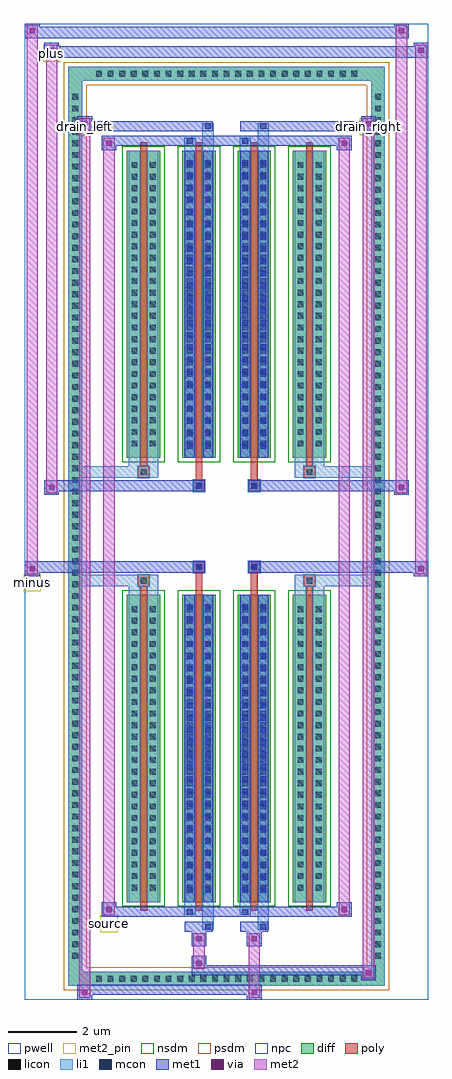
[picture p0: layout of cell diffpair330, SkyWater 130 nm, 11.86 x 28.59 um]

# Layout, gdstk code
import gdstk
lib = gdstk.Library(unit=1e-6, precision=5e-09)
def R(c, l, rs):  # rectangles x0, y0, x1, y1
    for r in rs: c.add(gdstk.rectangle(r[:2], r[2:], *l))
def A(c, l, x, y, w, h, nx, ny, dx, dy):  # array of equal rectangles
    R(c, l, [(x+i*dx, y+j*dy, x+i*dx+w, y+j*dy+h) for i in range(nx) for j in range(ny)])
def P(c, l, *ps):  # polygons
    for p in ps: c.add(gdstk.Polygon(p, *l))
pwell = (64, 44)
diff = (65, 20)
poly = (66, 20)
licon = (66, 44)
li1 = (67, 20)
mcon = (67, 44)
met1 = (68, 20)
via = (68, 44)
met2_pin = (69, 16)
met2 = (69, 20)
nsdm = (93, 44)
psdm = (94, 20)
npc = (95, 20)

diffpair330 = lib.new_cell('diffpair330')
R(diffpair330, pwell, [(-5.91,-13.86,5.91,14.73), (-3.23,-12.05,-0.01,-0.825), (0.01,-12.05,3.23,-0.825), (-3.23,0.825,-0.01,12.05), (0.01,0.825,3.23,12.05)])
A(diffpair330, diff, -3.945, -13.46, 0.41, 0.41, 23, 2, 0.34, 26.51)
A(diffpair330, diff, -4.64, -12.785, 0.41, 0.41, 1, 75, 0, 0.34)
A(diffpair330, diff, 4.23, -12.785, 0.41, 0.41, 1, 75, 0, 0.34)
A(diffpair330, diff, -2.92, -11.005, 0.98, 9, 4, 2, 1.62, 13.01)
R(diffpair330, diff, [(-3.945,-13.46,3.945,-13.05), (-4.64,-12.785,-4.23,12.785), (4.23,-12.785,4.64,12.785), (-3.945,13.05,3.945,13.46)])
P(diffpair330, diff, [(4.64,13.46),(-4.64,13.46),(-4.64,-13.05),(-4.23,-13.05),(-4.23,13.05),(4.23,13.05),(4.23,-13.05),(-4.23,-13.05),(-4.64,-13.05),(-4.64,-13.46),(4.64,-13.46)])
A(diffpair330, poly, -2.53, -11.255, 0.2, 9.5, 4, 2, 1.62, 13.01)
R(diffpair330, poly, [(-2.595,-1.755,-2.265,-1.425), (-2.595,-1.755,-2.265,-1.425), (-0.91,-1.755,-0.71,-1.355), (0.71,-1.755,0.91,-1.355), (2.265,-1.755,2.595,-1.425), (2.265,-1.755,2.595,-1.425), (-0.975,-1.355,-0.645,-1.025), (-0.975,-1.355,-0.645,-1.025), (0.645,-1.355,0.975,-1.025), (0.645,-1.355,0.975,-1.025), (-0.975,1.025,-0.645,1.355), (-0.975,1.025,-0.645,1.355), (0.645,1.025,0.975,1.355), (0.645,1.025,0.975,1.355), (-0.91,1.355,-0.71,1.755), (0.71,1.355,0.91,1.755), (-2.595,1.425,-2.265,1.755), (-2.595,1.425,-2.265,1.755), (2.265,1.425,2.595,1.755), (2.265,1.425,2.595,1.755)])
A(diffpair330, licon, -3.825, -13.34, 0.17, 0.17, 23, 2, 0.34, 26.51)
A(diffpair330, licon, -4.52, -12.665, 0.17, 0.17, 1, 75, 0, 0.34)
A(diffpair330, licon, 4.35, -12.665, 0.17, 0.17, 1, 75, 0, 0.34)
A(diffpair330, licon, -2.78, -10.67, 0.17, 0.17, 1, 25, 0, 0.34)
A(diffpair330, licon, -2.25, -10.67, 0.17, 0.17, 1, 25, 0, 0.34)
A(diffpair330, licon, -1.16, -10.67, 0.17, 0.17, 1, 25, 0, 0.34)
A(diffpair330, licon, -0.63, -10.67, 0.17, 0.17, 1, 25, 0, 0.34)
A(diffpair330, licon, 0.46, -10.67, 0.17, 0.17, 1, 25, 0, 0.34)
A(diffpair330, licon, 0.99, -10.67, 0.17, 0.17, 1, 25, 0, 0.34)
A(diffpair330, licon, 2.08, -10.67, 0.17, 0.17, 1, 25, 0, 0.34)
A(diffpair330, licon, 2.61, -10.67, 0.17, 0.17, 1, 25, 0, 0.34)
A(diffpair330, licon, -2.78, 2.34, 0.17, 0.17, 1, 25, 0, 0.34)
A(diffpair330, licon, -2.25, 2.34, 0.17, 0.17, 1, 25, 0, 0.34)
A(diffpair330, licon, -1.16, 2.34, 0.17, 0.17, 1, 25, 0, 0.34)
A(diffpair330, licon, -0.63, 2.34, 0.17, 0.17, 1, 25, 0, 0.34)
A(diffpair330, licon, 0.46, 2.34, 0.17, 0.17, 1, 25, 0, 0.34)
A(diffpair330, licon, 0.99, 2.34, 0.17, 0.17, 1, 25, 0, 0.34)
A(diffpair330, licon, 2.08, 2.34, 0.17, 0.17, 1, 25, 0, 0.34)
A(diffpair330, licon, 2.61, 2.34, 0.17, 0.17, 1, 25, 0, 0.34)
R(diffpair330, licon, [(-2.515,-1.675,-2.345,-1.505), (2.345,-1.675,2.515,-1.505), (-0.895,-1.275,-0.725,-1.105), (0.725,-1.275,0.895,-1.105), (-0.895,1.105,-0.725,1.275), (0.725,1.105,0.895,1.275), (-2.515,1.505,-2.345,1.675), (2.345,1.505,2.515,1.675)])
A(diffpair330, li1, -3.905, -13.42, 0.33, 0.33, 23, 2, 0.34, 26.51)
A(diffpair330, li1, -4.6, -12.745, 0.33, 0.33, 1, 75, 0, 0.34)
A(diffpair330, li1, 4.27, -12.745, 0.33, 0.33, 1, 75, 0, 0.34)
A(diffpair330, li1, -2.86, -10.75, 0.33, 0.33, 1, 25, 0, 0.34)
A(diffpair330, li1, -2.33, -10.75, 0.33, 0.33, 1, 25, 0, 0.34)
A(diffpair330, li1, -1.24, -10.75, 0.33, 0.33, 1, 25, 0, 0.34)
A(diffpair330, li1, -0.71, -10.75, 0.33, 0.33, 1, 25, 0, 0.34)
A(diffpair330, li1, 0.38, -10.75, 0.33, 0.33, 1, 25, 0, 0.34)
A(diffpair330, li1, 0.91, -10.75, 0.33, 0.33, 1, 25, 0, 0.34)
A(diffpair330, li1, 2, -10.75, 0.33, 0.33, 1, 25, 0, 0.34)
A(diffpair330, li1, 2.53, -10.75, 0.33, 0.33, 1, 25, 0, 0.34)
A(diffpair330, li1, -1.16, -10.73, 0.17, 0.17, 1, 24, 0, 0.36)
A(diffpair330, li1, -0.63, -10.73, 0.17, 0.17, 1, 24, 0, 0.36)
A(diffpair330, li1, 0.46, -10.73, 0.17, 0.17, 1, 24, 0, 0.36)
A(diffpair330, li1, 0.99, -10.73, 0.17, 0.17, 1, 24, 0, 0.36)
A(diffpair330, li1, -2.86, 2.26, 0.33, 0.33, 1, 25, 0, 0.34)
A(diffpair330, li1, -2.33, 2.26, 0.33, 0.33, 1, 25, 0, 0.34)
A(diffpair330, li1, -1.24, 2.26, 0.33, 0.33, 1, 25, 0, 0.34)
A(diffpair330, li1, -0.71, 2.26, 0.33, 0.33, 1, 25, 0, 0.34)
A(diffpair330, li1, 0.38, 2.26, 0.33, 0.33, 1, 25, 0, 0.34)
A(diffpair330, li1, 0.91, 2.26, 0.33, 0.33, 1, 25, 0, 0.34)
A(diffpair330, li1, 2, 2.26, 0.33, 0.33, 1, 25, 0, 0.34)
A(diffpair330, li1, 2.53, 2.26, 0.33, 0.33, 1, 25, 0, 0.34)
A(diffpair330, li1, -1.16, 2.28, 0.17, 0.17, 1, 24, 0, 0.36)
A(diffpair330, li1, -0.63, 2.28, 0.17, 0.17, 1, 24, 0, 0.36)
A(diffpair330, li1, 0.46, 2.28, 0.17, 0.17, 1, 24, 0, 0.36)
A(diffpair330, li1, 0.99, 2.28, 0.17, 0.17, 1, 24, 0, 0.36)
R(diffpair330, li1, [(-4.64,-13.46,-4.23,-13.05), (-4.64,-13.46,-4.23,-13.05), (-4.23,-13.46,4.23,-13.05), (4.23,-13.46,4.64,-13.05), (4.23,-13.46,4.64,-13.05), (-4.64,-13.05,-4.23,13.05), (4.23,-13.05,4.64,13.05), (-0.71,-11.81,-0.38,-11.005), (-0.63,-11.81,-0.46,-11.64), (0.91,-11.81,1.24,-11.005), (0.99,-11.81,1.16,-11.64), (-1.24,-11.38,-0.91,-11.005), (-1.16,-11.38,-0.99,-11.21), (0.38,-11.38,0.71,-11.005), (0.46,-11.38,0.63,-11.21), (-2.86,-11.005,-2.53,-2.005), (-2.33,-11.005,-2,-2.005), (-1.24,-11.005,-0.91,-2.005), (-0.71,-11.005,-0.38,-2.005), (0.38,-11.005,0.71,-2.005), (0.91,-11.005,1.24,-2.005), (2,-11.005,2.33,-2.005), (2.53,-11.005,2.86,-2.005), (-1.16,-10.73,-0.99,-2.28), (-0.63,-10.73,-0.46,-2.28), (0.46,-10.73,0.63,-2.28), (0.99,-10.73,1.16,-2.28), (-2.86,-2.005,-2.53,-1.425), (-2.33,-2.005,-2,-1.425), (2,-2.005,2.33,-1.425), (2.53,-2.005,2.86,-1.425), (-4.64,-1.755,-2.595,-1.425), (-2.86,-1.755,-2.595,-1.425), (-2.595,-1.755,-2.265,-1.425), (-2.265,-1.755,-2,-1.425), (2,-1.755,2.265,-1.425), (2.265,-1.755,2.595,-1.425), (2.265,-1.755,4.64,-1.425), (2.595,-1.755,2.86,-1.425), (-0.975,-1.355,-0.645,-1.025), (0.645,-1.355,0.975,-1.025), (-0.975,1.025,-0.645,1.355), (0.645,1.025,0.975,1.355), (-4.64,1.425,-2.595,1.755), (-2.86,1.425,-2.595,1.755), (-2.86,1.425,-2.53,2.005), (-2.595,1.425,-2.265,1.755), (-2.33,1.425,-2,2.005), (-2.265,1.425,-2,1.755), (2,1.425,2.265,1.755), (2,1.425,2.33,2.005), (2.265,1.425,2.595,1.755), (2.265,1.425,4.64,1.755), (2.53,1.425,2.86,2.005), (2.595,1.425,2.86,1.755), (-2.86,2.005,-2.53,11.005), (-2.33,2.005,-2,11.005), (-1.24,2.005,-0.91,11.005), (-0.71,2.005,-0.38,11.005), (0.38,2.005,0.71,11.005), (0.91,2.005,1.24,11.005), (2,2.005,2.33,11.005), (2.53,2.005,2.86,11.005), (-1.16,2.28,-0.99,10.73), (-0.63,2.28,-0.46,10.73), (0.46,2.28,0.63,10.73), (0.99,2.28,1.16,10.73), (-1.24,11.005,-0.91,11.38), (-0.71,11.005,-0.38,11.81), (0.38,11.005,0.71,11.38), (0.91,11.005,1.24,11.81), (-1.16,11.21,-0.99,11.38), (0.46,11.21,0.63,11.38), (-0.63,11.64,-0.46,11.81), (0.99,11.64,1.16,11.81), (-4.64,13.05,-4.23,13.46), (-4.64,13.05,-4.23,13.46), (-4.23,13.05,4.23,13.46), (4.23,13.05,4.64,13.46), (4.23,13.05,4.64,13.46)])
A(diffpair330, mcon, -1.16, -10.73, 0.17, 0.17, 1, 24, 0, 0.36)
A(diffpair330, mcon, -0.63, -10.73, 0.17, 0.17, 1, 24, 0, 0.36)
A(diffpair330, mcon, 0.46, -10.73, 0.17, 0.17, 1, 24, 0, 0.36)
A(diffpair330, mcon, 0.99, -10.73, 0.17, 0.17, 1, 24, 0, 0.36)
A(diffpair330, mcon, -1.16, 2.28, 0.17, 0.17, 1, 24, 0, 0.36)
A(diffpair330, mcon, -0.63, 2.28, 0.17, 0.17, 1, 24, 0, 0.36)
A(diffpair330, mcon, 0.46, 2.28, 0.17, 0.17, 1, 24, 0, 0.36)
A(diffpair330, mcon, 0.99, 2.28, 0.17, 0.17, 1, 24, 0, 0.36)
R(diffpair330, mcon, [(-0.63,-11.81,-0.46,-11.64), (0.99,-11.81,1.16,-11.64), (-1.16,-11.38,-0.99,-11.21), (0.46,-11.38,0.63,-11.21), (-0.895,-1.275,-0.725,-1.105), (0.725,-1.275,0.895,-1.105), (-0.895,1.105,-0.725,1.275), (0.725,1.105,0.895,1.275), (-1.16,11.21,-0.99,11.38), (0.46,11.21,0.63,11.38), (-0.63,11.64,-0.46,11.81), (0.99,11.64,1.16,11.81)])
A(diffpair330, met1, -1.22, -10.79, 0.29, 0.29, 1, 24, 0, 0.36)
A(diffpair330, met1, -0.69, -10.79, 0.29, 0.29, 1, 24, 0, 0.36)
A(diffpair330, met1, 0.4, -10.79, 0.29, 0.29, 1, 24, 0, 0.36)
A(diffpair330, met1, 0.93, -10.79, 0.29, 0.29, 1, 24, 0, 0.36)
A(diffpair330, met1, -1.22, 2.22, 0.29, 0.29, 1, 24, 0, 0.36)
A(diffpair330, met1, -0.69, 2.22, 0.29, 0.29, 1, 24, 0, 0.36)
A(diffpair330, met1, 0.4, 2.22, 0.29, 0.29, 1, 24, 0, 0.36)
A(diffpair330, met1, 0.93, 2.22, 0.29, 0.29, 1, 24, 0, 0.36)
R(diffpair330, met1, [(-4.37,-13.86,-3.94,-13.43), (0.595,-13.86,1.025,-13.43), (-4.37,-13.72,1.025,-13.43), (3.94,-13.29,4.37,-12.86), (-1.025,-13.15,4.37,-12.86), (-1.025,-13.01,-0.595,-12.58), (-1.025,-12.3,-0.595,-11.87), (0.595,-12.3,1.025,-11.87), (-1.22,-11.87,-0.4,-11.58), (-0.69,-11.87,-0.4,-11.58), (0.4,-11.87,1.22,-11.58), (0.93,-11.87,1.22,-11.58), (-3.66,-11.44,-3.23,-11.01), (-3.66,-11.44,-1.22,-11.15), (-1.22,-11.44,-0.93,-11.15), (-1.22,-11.44,-0.4,-11.15), (-0.4,-11.44,0.4,-11.15), (0.4,-11.44,0.69,-11.15), (0.4,-11.44,1.22,-11.15), (1.22,-11.44,3.66,-11.15), (3.23,-11.44,3.66,-11.01), (-1.22,-11.005,-0.93,-2.005), (-0.69,-11.005,-0.4,-2.005), (0.4,-11.005,0.69,-2.005), (0.93,-11.005,1.22,-2.005), (-5.91,-1.455,-5.48,-1.025), (5.48,-1.455,5.91,-1.025), (-5.91,-1.355,-0.645,-1.025), (-0.975,-1.355,-0.645,-1.025), (0.645,-1.355,0.975,-1.025), (0.645,-1.355,5.91,-1.025), (-0.955,-1.335,-0.665,-1.045), (0.665,-1.335,0.955,-1.045), (-5.34,0.925,-4.91,1.355), (4.91,0.925,5.34,1.355), (-5.34,1.025,-0.975,1.355), (-0.975,1.025,-0.645,1.355), (0.645,1.025,0.975,1.355), (0.975,1.025,5.34,1.355), (-0.955,1.045,-0.665,1.335), (0.665,1.045,0.955,1.335), (-1.22,2.005,-0.93,11.005), (-0.69,2.005,-0.4,11.005), (0.4,2.005,0.69,11.005), (0.93,2.005,1.22,11.005), (-3.66,11.01,-3.23,11.44), (3.23,11.01,3.66,11.44), (-3.66,11.15,-1.22,11.44), (-1.22,11.15,-0.93,11.44), (-1.22,11.15,-0.4,11.44), (-0.4,11.15,0.4,11.44), (0.4,11.15,0.69,11.44), (0.4,11.15,1.22,11.44), (1.22,11.15,3.66,11.44), (-4.37,11.58,-3.94,12.01), (-4.37,11.58,-1.22,11.87), (-1.22,11.58,-0.4,11.87), (-0.69,11.58,-0.4,11.87), (0.4,11.58,1.22,11.87), (0.93,11.58,1.22,11.87), (1.22,11.58,4.37,11.87), (3.94,11.58,4.37,12.01), (-5.34,13.73,-4.91,14.16), (-5.34,13.73,-3.23,14.06), (-3.23,13.73,3.23,14.06), (3.23,13.73,5.91,14.06), (5.48,13.73,5.91,14.16), (-5.91,14.3,-5.48,14.73), (-5.91,14.3,-3.23,14.63), (-3.23,14.3,3.23,14.63), (3.23,14.3,5.34,14.63), (4.91,14.3,5.34,14.73)])
R(diffpair330, via, [(-4.23,-13.72,-4.08,-13.57), (0.735,-13.72,0.885,-13.57), (4.08,-13.15,4.23,-13), (-0.885,-12.87,-0.735,-12.72), (-0.885,-12.16,-0.735,-12.01), (0.735,-12.16,0.885,-12.01), (-3.52,-11.3,-3.37,-11.15), (3.37,-11.3,3.52,-11.15), (-5.77,-1.315,-5.62,-1.165), (5.62,-1.315,5.77,-1.165), (-5.2,1.065,-5.05,1.215), (5.05,1.065,5.2,1.215), (-3.52,11.15,-3.37,11.3), (3.37,11.15,3.52,11.3), (-4.23,11.72,-4.08,11.87), (4.08,11.72,4.23,11.87), (-5.2,13.87,-5.05,14.02), (5.62,13.87,5.77,14.02), (-5.77,14.44,-5.62,14.59), (5.05,14.44,5.2,14.59)])
R(diffpair330, met2_pin, [(-3.695,-11.89,-3.195,-11.39), (-5.945,-1.905,-5.445,-1.405), (-4.405,11.46,-3.905,11.96), (3.905,11.46,4.405,11.96), (-5.375,13.61,-4.875,14.11)])
R(diffpair330, met2, [(-4.32,-13.81,-3.99,-13.48), (-4.32,-13.81,-3.99,11.96), (0.645,-13.81,0.975,-13.48), (0.645,-13.48,0.975,-12.25), (3.99,-13.24,4.32,-12.91), (3.99,-13.24,4.32,11.96), (-0.975,-12.96,-0.645,-12.63), (-0.975,-12.63,-0.645,-12.25), (-0.975,-12.25,-0.645,-11.92), (0.645,-12.25,0.975,-11.92), (-3.61,-11.39,-3.28,-11.06), (-3.61,-11.39,-3.28,11.39), (3.28,-11.39,3.61,-11.06), (3.28,-11.39,3.61,11.39), (-5.86,-1.405,-5.53,-1.075), (-5.86,-1.405,-5.53,14.68), (5.53,-1.405,5.86,-1.075), (5.53,-1.405,5.86,14.11), (-5.29,0.975,-4.96,1.305), (-5.29,0.975,-4.96,14.11), (4.96,0.975,5.29,1.305), (4.96,0.975,5.29,14.68), (-3.61,11.06,-3.28,11.39), (3.28,11.06,3.61,11.39), (-4.32,11.63,-3.99,11.96), (3.99,11.63,4.32,11.96), (-5.29,13.78,-4.96,14.11), (5.53,13.78,5.86,14.11), (-5.86,14.35,-5.53,14.68), (4.96,14.35,5.29,14.68)])
P(diffpair330, met2, [(5.86,-1.405),(5.86,-1.405),(5.86,-1.075),(5.86,-1.075)],
  [(5.86,13.78),(5.86,13.78),(5.86,14.11),(5.86,14.11)],
  [(-5.53,-1.405),(-5.53,-1.405),(-5.53,-1.075),(-5.53,-1.075)],
  [(-5.53,14.35),(-5.53,14.35),(-5.53,14.68),(-5.53,14.68)],
  [(5.29,0.975),(5.29,0.975),(5.29,1.305),(5.29,1.305)],
  [(5.29,14.35),(5.29,14.35),(5.29,14.68),(5.29,14.68)],
  [(-4.96,0.975),(-4.96,0.975),(-4.96,1.305),(-4.96,1.305)],
  [(-4.96,13.78),(-4.96,13.78),(-4.96,14.11),(-4.96,14.11)],
  [(-3.99,-13.81),(-3.99,-13.81),(-3.99,-13.48),(-3.99,-13.48)],
  [(-3.99,11.63),(-3.99,11.63),(-3.99,11.96),(-3.99,11.96)],
  [(4.32,-13.24),(4.32,-13.24),(4.32,-12.91),(4.32,-12.91)],
  [(4.32,11.63),(4.32,11.63),(4.32,11.96),(4.32,11.96)],
  [(-3.28,-11.39),(-3.28,-11.39),(-3.28,-11.06),(-3.28,-11.06)],
  [(-3.28,11.06),(-3.28,11.06),(-3.28,11.39),(-3.28,11.39)],
  [(3.61,-11.39),(3.61,-11.39),(3.61,-11.06),(3.61,-11.06)],
  [(3.61,11.06),(3.61,11.06),(3.61,11.39),(3.61,11.39)])
A(diffpair330, nsdm, -3.05, -11.135, 1.24, 9.26, 4, 2, 1.62, 13.01)
P(diffpair330, psdm, [(4.77,13.59),(-4.77,13.59),(-4.77,-12.92),(-4.1,-12.92),(-4.1,12.92),(4.1,12.92),(4.1,-12.92),(-4.1,-12.92),(-4.77,-12.92),(-4.77,-13.59),(4.77,-13.59)])
R(diffpair330, npc, [(-2.615,-1.775,-2.245,-1.405), (2.245,-1.775,2.615,-1.405), (-0.995,-1.375,-0.625,-1.005), (0.625,-1.375,0.995,-1.005), (-0.995,1.005,-0.625,1.375), (0.625,1.005,0.995,1.375), (-2.615,1.405,-2.245,1.775), (2.245,1.405,2.615,1.775)])
diffpair330.add(gdstk.Label('minus', (-5.695,-1.655), layer=69, texttype=5))
diffpair330.add(gdstk.Label('drain_right', (4.155,11.71), layer=69, texttype=5))
diffpair330.add(gdstk.Label('drain_left', (-4.155,11.71), layer=69, texttype=5))
diffpair330.add(gdstk.Label('source', (-3.445,-11.64), layer=69, texttype=5))
diffpair330.add(gdstk.Label('plus', (-5.125,13.86), layer=69, texttype=5))

lib.write_gds('diffpair330.gds')
